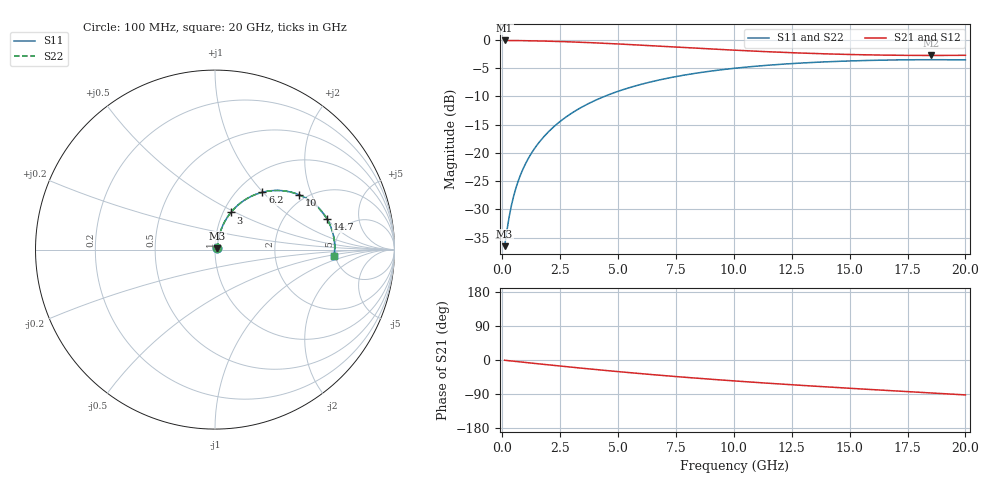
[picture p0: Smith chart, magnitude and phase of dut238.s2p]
! Touchstone file exported from HFSS 2026.1.0
!  File:  C:/ffzhzh/LocalFiles/Ansys_Project_Files/temp_train_TSV_RDL_238_1783065813_45820.aedt
!  Generated:  04:17:36 PM Jul  3, 2026
!  Design:  TSV_RDL
!  Project:  temp_train_TSV_RDL_238_1783065813_45820
! Variables:
!  h_bsmrdl = 2.82um
!  h_ox = 20um
!  h_rdl = 5um
!  h_sub = 56.37um
!  h_tmrdl = 2.73um
!  h_tsv = 56.37um
!  h_via = 3um
!  l_bsmrdl = 122.05um
!  l_sub = 1670.08um
!  l_tmrdl = 205.32um
!  m_sub = 200um
!  pitch = 58.19um
!  r_tsv = 6.81um
!  s_tmrdl = 10um
!  w_bsmrdl = 12.25um
!  w_sub = 500um
!  w_tmrdl = 15.3um
!  x_tsv_center1 = 212.97um
!  x_tsv_center2 = 347.27um
!  x_tsv_center3 = 567.89um
!  x_tsv_center4 = 702.19um
!  x_tsv_center5 = 922.81um
!  x_tsv_center6 = 1057.11um
# GHz S MA R 50.000000
! Terminal data exported
! Port[1] = TM_RDL1_1_T1
! Port[2] = TM_RDL5_1_T1
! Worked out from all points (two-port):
!   200 points, 100 MHz to 20 GHz, reference 50 ohm
!   highest |S21| = -0.11 dB at 100 MHz (marker M1); lowest = -2.8 dB at 18.5 GHz (marker M2)
!   |S21| within 3 dB of the highest: start of sweep to end of sweep
!   lowest |S11| = -36.5 dB at 100 MHz (marker M3), VSWR 1.03, Z = 51.3 + j0.818 ohm
!   |S11| at or under -10 dB: start of sweep to 4.414 GHz
!   |S22| runs from -36.5 to -3.5 dB; largest |S21 - S12| = 1.5e-14
!   S11 on the Smith chart (normalised r, x): 100 MHz: 1.03, +0.02; 3 GHz: 1.09, +0.47; 6.2 GHz: 1.29, +0.99; 10 GHz: 1.83, +1.63; 14.7 GHz: 3.43, +2.00; 20 GHz: 4.89, -0.60
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0.1  0.01498 32.2  0.9874 -0.7  0.9874 -0.7  0.01498 32.2
! Gamma 0 0 0 0
! Port Impedance 50 0 50 0
0.3  0.02746 60.0  0.9868 -2.0  0.9868 -2.0  0.02746 60.0
0.4  0.03478 65.2  0.9864 -2.6  0.9864 -2.6  0.03478 65.2
0.5  0.04226 68.3  0.9859 -3.3  0.9859 -3.3  0.04226 68.3
0.7  0.05737 71.5  0.9846 -4.6  0.9846 -4.6  0.05737 71.5
1  0.08 73.1  0.9825 -6.5  0.9825 -6.5  0.08 73.1
1.4  0.1099 73.1  0.9791 -9.1  0.9791 -9.1  0.1099 73.1
1.8  0.1395 72.1  0.975 -11.6  0.975 -11.6  0.1395 72.1
2.4  0.1829 69.7  0.9675 -15.3  0.9675 -15.3  0.1829 69.7
3  0.2249 66.9  0.9584 -19.0  0.9584 -19.0  0.2249 66.9
3.5  0.2585 64.4  0.9497 -22.0  0.9497 -22.0  0.2585 64.4
4.7  0.3333 58.1  0.9259 -29.0  0.9259 -29.0  0.3333 58.1
6.2  0.4143 50.4  0.8926 -37.1  0.8926 -37.1  0.4143 50.4
6.8  0.4428 47.5  0.879 -40.2  0.879 -40.2  0.4428 47.5
8.3  0.5045 40.5  0.8454 -47.5  0.8454 -47.5  0.5045 40.4
10  0.5596 33.0  0.8107 -55.2  0.8107 -55.2  0.5596 33.0
10.1  0.5624 32.6  0.8088 -55.6  0.8088 -55.6  0.5624 32.6
13.4  0.6311 19.8  0.7579 -68.8  0.7579 -68.8  0.6312 19.8
14.7  0.6475 15.1  0.7445 -73.5  0.7445 -73.5  0.6475 15.1
16.7  0.6628 8.2  0.7315 -80.7  0.7315 -80.7  0.6628 8.2
18.5  0.6673 2.1  0.7277 -86.9  0.7277 -86.9  0.6673 2.1
20  0.6646 -3.0  0.7302 -92.1  0.7302 -92.1  0.6646 -3.0
